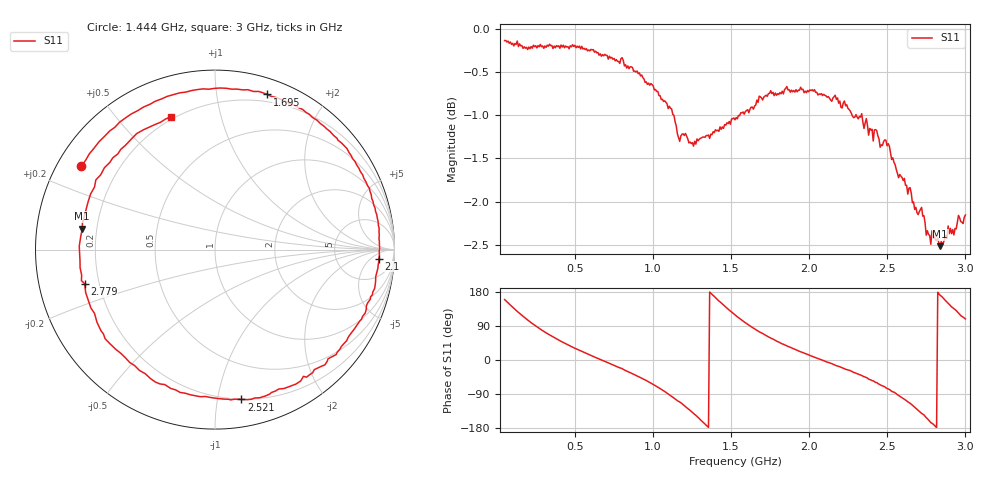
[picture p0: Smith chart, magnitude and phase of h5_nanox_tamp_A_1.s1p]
! nanovna_capture.py 2026-10-18T19:49:40+0900
! NanoVNA-F_V2 fw 0.6.0 SN 4A3639384505514B
! cal: load open short cal'ed  over 50000000-3000000000 Hz, 201 points
! points 401, avg 4
! h5 probe, tape spacer, modified (implanted) Nano X, position A (behind left button), placement 1
# HZ S RI R 50
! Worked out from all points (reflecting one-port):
!   401 points, 50 MHz to 3 GHz, reference 50 ohm
!   lowest |S11| = -2.5 dB at 2.838 GHz (marker M1), VSWR 6.95, Z = 7.23 + j3.87 ohm
!   phase of S11 starts at 160 deg and turns -771 deg over the sweep
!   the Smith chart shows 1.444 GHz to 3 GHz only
!   S11 on the Smith chart (normalised r, x): 1.444 GHz: 0.07, +0.28; 1.695 GHz: 0.13, +1.38; 2.1 GHz: 16, -10; 2.521 GHz: 0.20, -1.17; 2.779 GHz: 0.14, -0.13; 3 GHz: 0.19, +0.70
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5e7  -0.9224 0.3444
1.385e8  -0.5702 0.7931
2.19625e8  -0.1452 0.9659
3.08125e8  0.2767 0.9375
4.1875e8  0.6573 0.7216
6.03125e8  0.9517 0.2028
7.875e8  0.8936 -0.337
1.001375e9  0.3991 -0.8365
1.089875e9  0.0417 -0.9041
1.15625e9  -0.2587 -0.83
1.237375e9  -0.5845 -0.6309
1.3185e9  -0.8298 -0.2469
1.384875e9  -0.8598 0.1451
1.443875e9  -0.7448 0.464
1.525e9  -0.4302 0.7744
1.606125e9  -0.0656 0.8956
1.694625e9  0.2904 0.8647
1.89375e9  0.7891 0.4722
2.10025e9  0.9139 -0.0506
2.2625e9  0.7935 -0.4171
2.373125e9  0.5918 -0.6504
2.520625e9  0.1474 -0.835
2.63125e9  -0.2795 -0.7521
2.71975e9  -0.6119 -0.4969
2.77875e9  -0.726 -0.1901
2.83775e9  -0.7393 0.1175
2.918875e9  -0.5699 0.5109
3e9  -0.2466 0.7403
